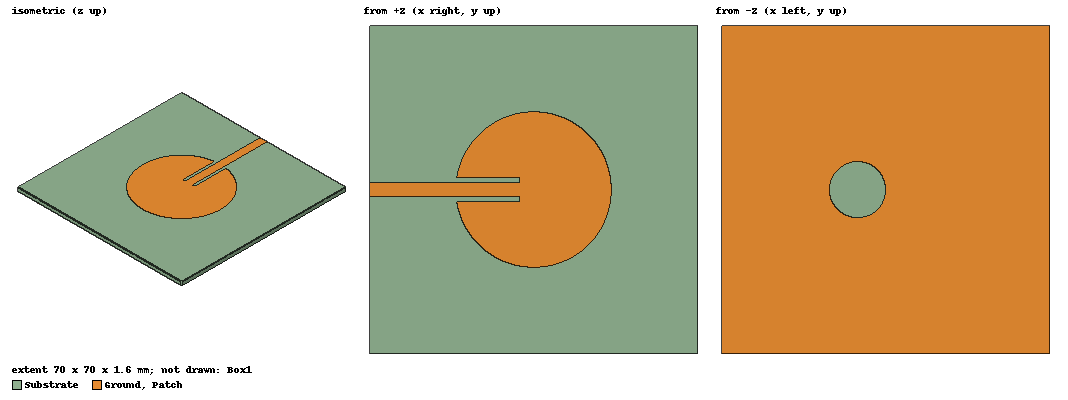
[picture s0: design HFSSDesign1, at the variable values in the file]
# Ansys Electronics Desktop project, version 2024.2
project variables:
  $Rp = 16.59mm
  $S = 70mm
  $Lf = 19mm
  $Ls = 14mm
  $Ws = 1mm
  $Rdgs = 6mm
  $h = 1.6mm
  $Wf = 3mm
  $S1 = 90mm
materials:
  vacuum: permittivity=1
  FR4_epoxy: permittivity=4.4 dielectric_loss_tangent=0.02
  copper: permeability=0.999991 conductivity=58000000
  air: permittivity=1.0006 permeability=1.0000004

design HFSSDesign1 (HFSS, HFSS Terminal Network, model units mm)
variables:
  a = 0mm
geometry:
  Ground = rectangle(corner=(-$S/2, -$S/2, -$h), x_size=$S, y_size=$S)
  Substrate [FR4_epoxy] = box(corner=(-$S/2, -$S/2, -$h), size=($S, $S, $h))
  Patch = circle(normal=Z, centre=(0, 0, 0), radius=$Rp)
  Subtract = rectangle(corner=(-$Ls-$Wf, $Wf/2, 0), x_size=$Ls, y_size=$Ws)
  Patch.subtract(Subtract)
  Feedline = rectangle(corner=(-$Lf-$Lf+$Wf, -$Wf/2, 0), x_size=$Lf, y_size=$Wf)
  Rectangle1 = rectangle(corner=(-$S/2, -$Wf/2, 0), y_size=$Wf, z_size=-$h)
  Patch.unite(Feedline)
  Box1 [air] = box(corner=(-$S1/2, -$S1/2, -$S1/2), size=($S1, $S1, $S1))
  Ellipse1 = ellipse(normal=Z, centre=($Rdgs, 0, -$h), major_radius=$Rdgs, ratio=1)
  Ground.subtract(Ellipse1)
  SubtractR = rectangle(corner=(-$Ls-$Wf, -$Wf+$Ws/2, 0mm), x_size=$Ls, y_size=$Ws)
  Patch.subtract(SubtractR)
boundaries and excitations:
  FiniteCond1: Finite Conductivity Objects=Ground UseMaterial Material=copper IsInternal
  FiniteCond2: Finite Conductivity Objects=Patch UseMaterial Material=copper IsInternal
  Rad1: Radiation Objects=Box1
  Patch_T1: Terminal port=1 Edges=Patch.edge(at (-35, 0, 0)) TerminalResistance=50ohm
  1: Lumped Port Faces=Rectangle1.face LumpedPortType=Terminal Impedance=50ohm
  reference conductors: Ground
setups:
  Setup1: HfssDriven Frequency=2.45GHz MaxDeltaS=0.02 MaximumPasses=20 MinimumPasses=1 MinimumConvergedPasses=1 PercentRefinement=30 BasisOrder=1 PortAccuracy=2 DrivenSolverType="Direct Solver"
    sweep Sweep: 1GHz to 3GHz, 401 points; Type=Fast SaveFields
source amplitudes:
  1:1: 1V 0deg
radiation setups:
  Infinite Sphere1: Infinite Sphere Theta=-180deg..180deg step 2deg Phi=0deg..180deg step 2deg
  Infinite Sphere2: Infinite Sphere Theta=-180deg..180deg step 2deg Phi=0deg..90deg step 90deg
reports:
  Terminal S Parameter Plot 1: dB(St(Patch_T1,Patch_T1)) vs Freq on Setup1 : Sweep; markers m1 at 2.4140065GHz, m2 at 2.4683076GHz, m3 at 2.44GHz
  Gain Plot 1: dB(GainTotal) vs Phi, Theta on Setup1 : LastAdaptive, Infinite Sphere1 [Freq=2.45GHz]
  Directivity Plot 1: dB(DirTotal) vs Phi, Theta on Setup1 : LastAdaptive, Infinite Sphere1 [Freq=2.45GHz]
  Gain Plot 2: dB(GainTotal) vs Theta on Setup1 : LastAdaptive, Infinite Sphere2 [Phi=all Freq=2.45GHz]
